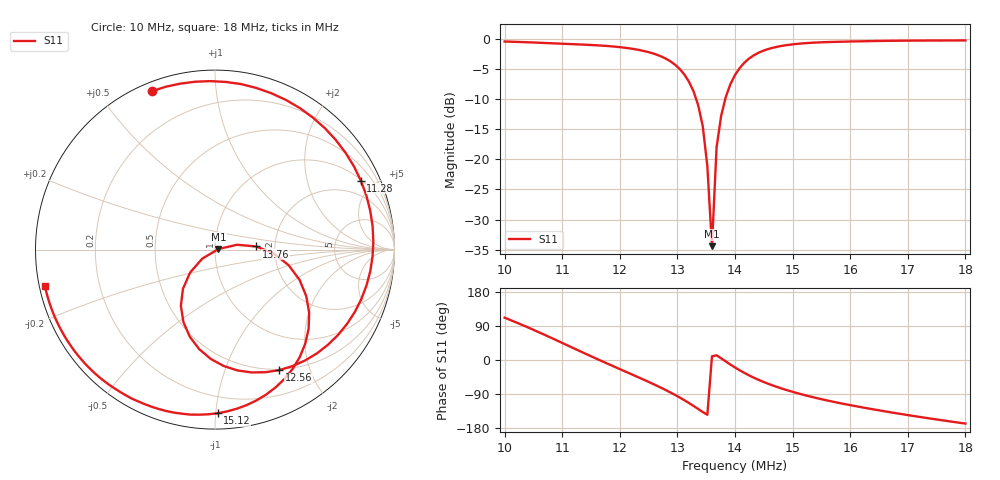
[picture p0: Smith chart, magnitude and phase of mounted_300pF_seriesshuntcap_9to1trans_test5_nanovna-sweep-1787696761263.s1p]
! S11 from mounted_300pF_seriesshuntcap_9to1trans_test5_nanovna-sweep-1787696761263.csv, converted by the rf-network-modeller history importer
# HZ S RI R 50
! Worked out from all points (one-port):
!   101 points, 10 MHz to 18 MHz, reference 50 ohm
!   lowest |S11| = -34.4 dB at 13.6 MHz (marker M1), VSWR 1.04, Z = 51.9 + j0.332 ohm
!   |S11| at or under -10 dB: 13.33 MHz to 13.83 MHz (506 kHz wide, 3.73 % of centre)
!   S11 on the Smith chart (normalised r, x): 10 MHz: 0.04, +0.68; 11.28 MHz: 1.05, +4.21; 12.56 MHz: 0.49, -1.55; 13.76 MHz: 1.59, +0.06; 15.12 MHz: 0.09, -1.01; 18 MHz: 0.02, -0.11
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1e7  -0.3503 0.8828
1.024e7  -0.1102 0.9354
1.048e7  0.1453 0.9222
1.072e7  0.3946 0.834
1.104e7  0.6729 0.6108
1.128e7  0.8126 0.3841
1.16e7  0.8822 0.0467
1.2e7  0.779 -0.3473
1.232e7  0.5684 -0.5779
1.256e7  0.3573 -0.6715
1.28e7  0.1242 -0.673
1.304e7  -0.0878 -0.5548
1.328e7  -0.1902 -0.3136
1.344e7  -0.1387 -0.1279
1.352e7  -0.0714 -0.0507
1.36e7  0.0187 0.0032
1.368e7  0.1227 0.0269
1.376e7  0.2295 0.0175
1.384e7  0.3282 -0.0221
1.4e7  0.4712 -0.1689
1.424e7  0.5216 -0.4415
1.456e7  0.3871 -0.7209
1.504e7  0.0674 -0.9015
1.512e7  0.0147 -0.9116
1.552e7  -0.2274 -0.9085
1.6e7  -0.462 -0.831
1.704e7  -0.8035 -0.5358
1.8e7  -0.9472 -0.2049
